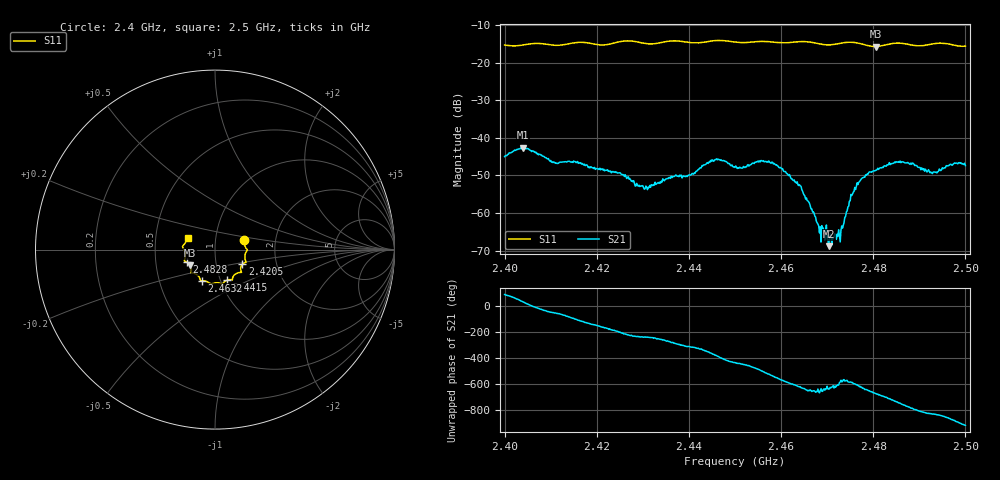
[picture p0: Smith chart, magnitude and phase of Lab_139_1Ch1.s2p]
# Hz S RI R 50
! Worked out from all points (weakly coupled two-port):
!   601 points, 2.4 GHz to 2.5 GHz, reference 50 ohm
!   highest |S21| = -42.65 dB at 2.404 GHz (marker M1); lowest = -68.8 dB at 2.4703 GHz (marker M2)
!   lowest |S11| = -15.7 dB at 2.4805 GHz (marker M3), VSWR 1.39, Z = 37.3 - j6.68 ohm
!   |S11| at or under -10 dB: start of sweep to end of sweep
!   S12 and S22 are empty: the file has one direction only
!   S11 on the Smith chart (normalised r, x): 2.4 GHz: 1.38, +0.15; 2.4205 GHz: 1.34, -0.23; 2.4415 GHz: 1.07, -0.38; 2.4632 GHz: 0.82, -0.29; 2.4828 GHz: 0.72, -0.10; 2.5 GHz: 0.73, +0.10
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2.4e9  0.1636 0.0518  0.000273 0.00561  0 0  0 0
2.404e9  0.1714 0.0103  0.00634 0.00376  0 0  0 0
2.411e9  0.1681 -0.0256  0.00264 -0.00375  0 0  0 0
2.416667e9  0.1729 -0.0699  -0.00217 -0.00393  0 0  0 0
2.4205e9  0.1521 -0.0818  -0.00343 -0.00161  0 0  0 0
2.430667e9  0.1214 -0.1323  -0.00107 0.00201  0 0  0 0
2.433333e9  0.1004 -0.1515  -0.000672 0.00246  0 0  0 0
2.4415e9  0.0656 -0.1708  0.00289 0.0021  0 0  0 0
2.446167e9  0.0411 -0.1929  0.0045 -0.00239  0 0  0 0
2.45e9  0.0243 -0.1864  0.00083 -0.00395  0 0  0 0
2.457667e9  -0.0296 -0.1869  -0.00462 -0.000569  0 0  0 0
2.463167e9  -0.0731 -0.174  -0.000758 0.00246  0 0  0 0
2.466667e9  -0.082 -0.1671  0.000573 0.000976  0 0  0 0
2.468167e9  -0.0862 -0.1562  0.000349 0.000576  0 0  0 0
2.470333e9  -0.1021 -0.1389  8e-05 0.000353  0 0  0 0
2.4725e9  -0.1229 -0.1304  -0.000195 0.000566  0 0  0 0
2.4765e9  -0.133 -0.1256  -0.000962 0.00233  0 0  0 0
2.4805e9  -0.1388 -0.0871  0.00268 0.00255  0 0  0 0
2.482833e9  -0.1586 -0.0699  0.00406 0.00107  0 0  0 0
2.483333e9  -0.1623 -0.0681  0.00438 0.000426  0 0  0 0
2.492833e9  -0.1768 0.00865  -0.0014 -0.00303  0 0  0 0
2.5e9  -0.1528 0.0644  -0.00395 0.00164  0 0  0 0
